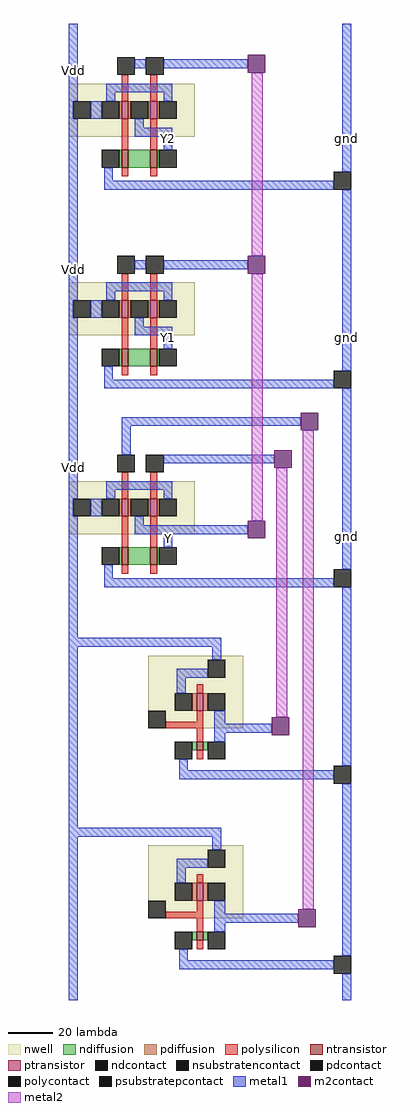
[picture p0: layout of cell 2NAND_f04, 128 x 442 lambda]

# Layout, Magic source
magic
tech tsmc
<< nwell >>
rect -16 172 41 196
rect -16 82 41 106
rect -16 -8 41 16
<< ntransistor >>
rect 8 158 11 166
rect 21 158 24 166
rect 8 68 11 76
rect 21 68 24 76
rect 8 -22 11 -14
rect 21 -22 24 -14
<< ptransistor >>
rect 8 180 11 188
rect 21 180 24 188
rect 8 90 11 98
rect 21 90 24 98
rect 8 0 11 8
rect 21 0 24 8
<< ndiffusion >>
rect 7 158 8 166
rect 11 158 21 166
rect 24 158 25 166
rect 7 68 8 76
rect 11 68 21 76
rect 24 68 25 76
rect 7 -22 8 -14
rect 11 -22 21 -14
rect 24 -22 25 -14
<< pdiffusion >>
rect 7 180 8 188
rect 11 180 12 188
rect 20 180 21 188
rect 24 180 25 188
rect 7 90 8 98
rect 11 90 12 98
rect 20 90 21 98
rect 24 90 25 98
rect 7 0 8 8
rect 11 0 12 8
rect 20 0 21 8
rect 24 0 25 8
<< ndcontact >>
rect -1 158 7 166
rect 25 158 33 166
rect -1 68 7 76
rect 25 68 33 76
rect -1 -22 7 -14
rect 25 -22 33 -14
<< pdcontact >>
rect -1 180 7 188
rect 12 180 20 188
rect 25 180 33 188
rect -1 90 7 98
rect 12 90 20 98
rect 25 90 33 98
rect -1 0 7 8
rect 12 0 20 8
rect 25 0 33 8
<< psubstratepcontact >>
rect 104 148 112 156
rect 104 58 112 66
rect 104 -32 112 -24
<< nsubstratencontact >>
rect -14 180 -6 188
rect -14 90 -6 98
rect -14 0 -6 8
<< polysilicon >>
rect 8 188 11 200
rect 21 188 24 200
rect 8 166 11 180
rect 21 166 24 180
rect 8 154 11 158
rect 21 154 24 158
rect 8 98 11 110
rect 21 98 24 110
rect 8 76 11 90
rect 21 76 24 90
rect 8 64 11 68
rect 21 64 24 68
rect 8 8 11 20
rect 21 8 24 20
rect 8 -14 11 0
rect 21 -14 24 0
rect 8 -26 11 -22
rect 21 -26 24 -22
<< polycontact >>
rect 6 200 14 208
rect 19 200 27 208
rect 6 110 14 118
rect 19 110 27 118
rect 6 20 14 28
rect 19 20 27 28
<< metal1 >>
rect -16 188 -12 223
rect 14 203 19 207
rect 27 203 65 207
rect 1 192 31 196
rect 1 188 5 192
rect 27 188 31 192
rect -16 180 -14 188
rect -6 180 -1 188
rect -16 98 -12 180
rect 14 176 18 180
rect 14 172 31 176
rect 27 166 31 172
rect 0 152 4 158
rect 108 156 112 223
rect 0 148 104 152
rect 14 112 19 116
rect 27 112 65 116
rect 1 102 31 106
rect 1 98 5 102
rect 27 98 31 102
rect -16 90 -14 98
rect -6 90 -1 98
rect -16 8 -12 90
rect 14 86 18 90
rect 14 82 31 86
rect 27 76 31 82
rect 0 62 4 68
rect 108 66 112 148
rect 0 58 104 62
rect 8 41 89 45
rect 8 28 12 41
rect 27 24 77 28
rect 1 12 31 16
rect 1 8 5 12
rect 27 8 31 12
rect -16 0 -14 8
rect -6 0 -1 8
rect -16 -47 -12 0
rect 14 -4 18 0
rect 14 -8 65 -4
rect 27 -14 31 -8
rect 0 -28 4 -22
rect 108 -24 112 58
rect 0 -32 104 -28
rect 108 -47 112 -32
rect 50 -98 76 -94
rect 50 -184 88 -180
<< m2contact >>
rect 65 201 73 209
rect 65 110 73 118
rect 89 39 97 47
rect 77 22 85 30
rect 65 -10 73 -2
rect 76 -99 84 -91
rect 88 -186 96 -178
<< metal2 >>
rect 67 118 72 201
rect 67 -2 72 110
rect 78 -91 83 22
rect 90 -178 95 39
use 1INV  1INV_0
transform 1 0 33 0 1 -113
box -49 -20 79 66
use 1INV  1INV_1
transform 1 0 33 0 1 -199
box -49 -20 79 66
<< labels >>
rlabel metal1 -14 22 -14 22 3 Vdd
rlabel metal1 110 -9 110 -9 7 gnd
rlabel metal1 29 -10 29 -10 1 Y
rlabel metal1 -14 112 -14 112 3 Vdd
rlabel metal1 110 81 110 81 7 gnd
rlabel metal1 -14 202 -14 202 3 Vdd
rlabel metal1 110 171 110 171 7 gnd
rlabel metal1 27 76 31 86 1 Y1
rlabel metal1 27 166 31 176 1 Y2
<< end >>

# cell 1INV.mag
magic
tech tsmc
<< nwell >>
rect -13 17 30 50
<< ntransistor >>
rect 9 7 12 11
<< ptransistor >>
rect 9 25 12 33
<< ndiffusion >>
rect 7 7 9 11
rect 12 7 14 11
<< pdiffusion >>
rect 7 25 9 33
rect 12 25 14 33
<< ndcontact >>
rect -1 3 7 11
rect 14 3 22 11
<< pdcontact >>
rect -1 25 7 33
rect 14 25 22 33
<< psubstratepcontact >>
rect 71 -8 79 0
<< nsubstratencontact >>
rect 14 40 22 48
<< polysilicon >>
rect 9 33 12 37
rect 9 20 12 25
rect -5 17 12 20
rect 9 11 12 17
rect 9 3 12 7
<< polycontact >>
rect -13 17 -5 25
<< metal1 >>
rect -49 58 -45 66
rect -49 54 20 58
rect -49 -20 -45 54
rect 16 48 20 54
rect 0 40 14 44
rect 0 33 4 40
rect 17 11 22 25
rect 1 -2 5 3
rect 75 0 79 66
rect 1 -6 71 -2
rect 75 -20 79 -8
<< end >>
